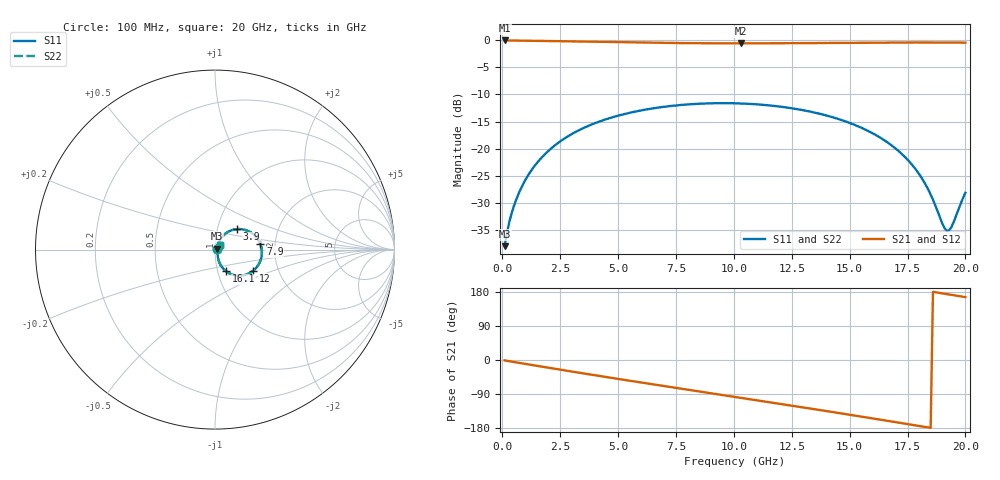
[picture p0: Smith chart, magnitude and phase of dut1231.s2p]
! Touchstone file exported from HFSS 2026.1.0
!  File:  C:/ffzhzh/LocalFiles/Ansys_Project_Files/temp_train_TSV_RDL_1231_1783322511_38704.aedt
!  Generated:  03:31:17 PM Jul  6, 2026
!  Design:  TSV_RDL
!  Project:  temp_train_TSV_RDL_1231_1783322511_38704
! Variables:
!  h_bsmrdl = 5.34um
!  h_ox = 20um
!  h_rdl = 5um
!  h_sub = 82.22um
!  h_tmrdl = 4.69um
!  h_tsv = 82.22um
!  h_via = 3um
!  l_bsmrdl = 607.93um
!  l_sub = 3112.42um
!  l_tmrdl = 190.05um
!  m_sub = 200um
!  pitch = 33um
!  r_tsv = 9.48um
!  s_tmrdl = 10um
!  w_bsmrdl = 16.69um
!  w_sub = 500um
!  w_tmrdl = 26.12um
!  x_tsv_center1 = 203.11um
!  x_tsv_center2 = 827.73um
!  x_tsv_center3 = 1043.9um
!  x_tsv_center4 = 1668.52um
!  x_tsv_center5 = 1884.69um
!  x_tsv_center6 = 2509.31um
# GHz S MA R 50.000000
! Terminal data exported
! Port[1] = TM_RDL1_1_T1
! Port[2] = TM_RDL5_1_T1
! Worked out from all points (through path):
!   200 points, 100 MHz to 20 GHz, reference 50 ohm
!   highest |S21| = -0.10 dB at 100 MHz (marker M1); lowest = -0.6 dB at 10.3 GHz (marker M2)
!   group delay of S21, straight-line fit = 26.6 ps
!   lowest |S11| = -37.9 dB at 100 MHz (marker M3), VSWR 1.03, Z = 51.1 + j0.601 ohm
!   |S11| at or under -10 dB: start of sweep to end of sweep
!   |S22| runs from -37.9 to -11.6 dB; largest |S21 - S12| = 7.8e-14
!   S11 on the Smith chart (normalised r, x): 100 MHz: 1.02, +0.01; 3.9 GHz: 1.24, +0.29; 7.9 GHz: 1.67, +0.11; 12 GHz: 1.49, -0.37; 16.1 GHz: 1.10, -0.27; 20 GHz: 1.05, +0.06
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0.1  0.01272 27.5  0.9888 -1.1  0.9888 -1.1  0.01272 27.5
! Gamma 0 0 0 0
! Port Impedance 50 0 50 0
0.3  0.02108 49.3  0.987 -3.2  0.987 -3.2  0.02107 49.3
0.5  0.02971 56.7  0.9857 -5.3  0.9857 -5.3  0.02971 56.7
0.8  0.04285 61.2  0.9843 -8.3  0.9843 -8.3  0.04284 61.2
1.2  0.06073 62.3  0.9823 -12.4  0.9823 -12.4  0.06073 62.4
2.2  0.1044 57.2  0.9757 -22.5  0.9757 -22.5  0.1044 57.2
3.5  0.1547 46.3  0.9649 -35.4  0.9649 -35.4  0.1547 46.3
3.9  0.1684 42.7  0.9614 -39.3  0.9614 -39.3  0.1684 42.7
6.8  0.24 16.9  0.9399 -67.0  0.9399 -67.0  0.24 16.9
7.9  0.2543 7.2  0.9347 -77.3  0.9347 -77.3  0.2543 7.2
10.1  0.2613 -12.1  0.93 -97.8  0.93 -97.8  0.2613 -12.1
10.3  0.2605 -13.8  0.93 -99.7  0.93 -99.7  0.2605 -13.8
12  0.2438 -28.7  0.9319 -115.7  0.9319 -115.7  0.2438 -28.7
13.4  0.217 -40.8  0.9358 -129.0  0.9358 -129.0  0.217 -40.8
16.1  0.1347 -63.1  0.9446 -155.2  0.9446 -155.2  0.1348 -63.1
16.7  0.1118 -67.2  0.946 -161.1  0.946 -161.1  0.1118 -67.2
18  0.05852 -71.2  0.9475 -174.1  0.9475 -174.1  0.05854 -71.3
18.4  0.04192 -67.8  0.9473 -178.1  0.9473 -178.1  0.04193 -67.8
19  0.02063 -40.1  0.9466 175.9  0.9466 175.9  0.02059 -40.2
19.2  0.01761 -15.7  0.9462 173.9  0.9462 173.9  0.01755 -15.8
19.4  0.01908 11.1  0.9458 171.9  0.9458 171.9  0.019 11.1
20  0.03941 45.7  0.9439 165.9  0.9439 165.9  0.03934 45.8
